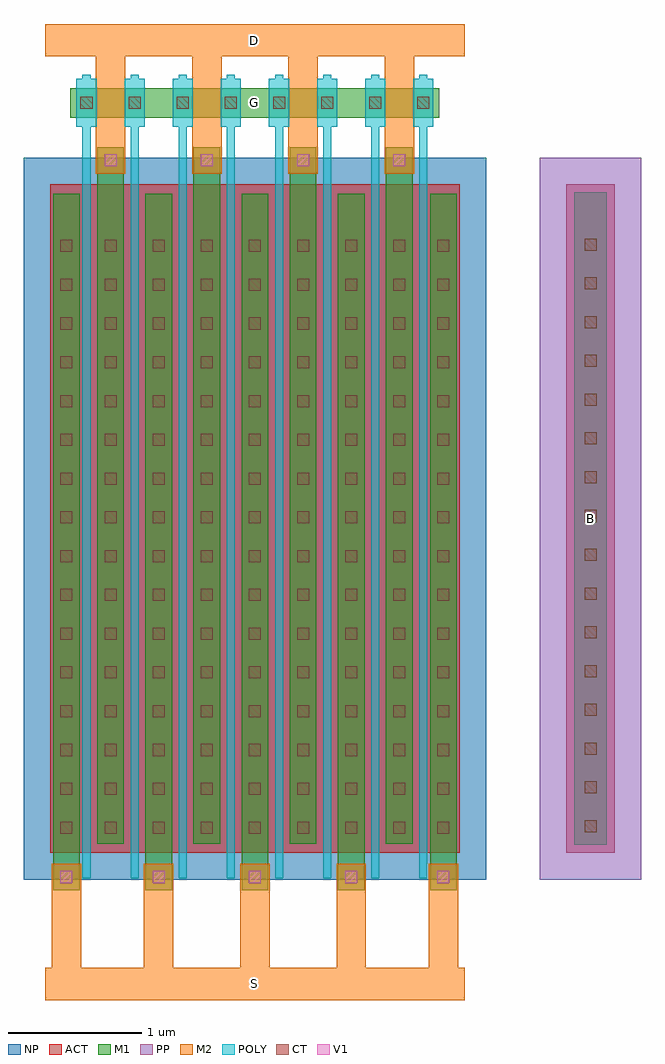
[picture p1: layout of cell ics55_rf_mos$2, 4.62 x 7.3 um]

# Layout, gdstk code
import gdstk
lib = gdstk.Library(unit=1e-6, precision=1e-09)
def R(c, l, rs):  # rectangles x0, y0, x1, y1
    for r in rs: c.add(gdstk.rectangle(r[:2], r[2:], *l))
def A(c, l, x, y, w, h, nx, ny, dx, dy):  # array of equal rectangles
    R(c, l, [(x+i*dx, y+j*dy, x+i*dx+w, y+j*dy+h) for i in range(nx) for j in range(ny)])
ACT = (2, 1)
POLY = (41, 1)
NP = (52, 1)
PP = (53, 1)
CT = (72, 1)
M1 = (81, 1)
M2 = (82, 1)
V1 = (91, 1)

ics55_rf_mos_2 = lib.new_cell('ics55_rf_mos$2')
R(ics55_rf_mos_2, ACT, [(-1.53,-2.5,1.53,2.5), (2.33,-2.5,2.69,2.5)])
A(ics55_rf_mos_2, POLY, -1.29, -2.69, 0.06, 6.01, 8, 1, 0.36, 0)
A(ics55_rf_mos_2, POLY, -1.335, 2.93, 0.15, 0.36, 8, 1, 0.36, 0)
R(ics55_rf_mos_2, NP, [(-1.73,-2.7,1.73,2.7)])
R(ics55_rf_mos_2, PP, [(2.13,-2.7,2.89,2.7)])
A(ics55_rf_mos_2, CT, -1.455, -2.355, 0.09, 0.09, 1, 16, 0, 0.29)
A(ics55_rf_mos_2, CT, -1.125, -2.355, 0.09, 0.09, 7, 16, 0.36, 0.29)
A(ics55_rf_mos_2, CT, 1.365, -2.355, 0.09, 0.09, 1, 16, 0, 0.29)
A(ics55_rf_mos_2, CT, 2.465, -2.345, 0.09, 0.09, 1, 16, 0, 0.29)
A(ics55_rf_mos_2, CT, -1.305, 3.065, 0.09, 0.09, 8, 1, 0.36, 0)
A(ics55_rf_mos_2, M1, -0.82, -2.78, 0.2, 5.21, 3, 1, 0.72, 0)
A(ics55_rf_mos_2, M1, -1.18, -2.43, 0.2, 5.21, 4, 1, 0.72, 0)
R(ics55_rf_mos_2, M1, [(-1.51,-2.78,-1.31,2.43), (1.31,-2.78,1.51,2.43), (2.39,-2.44,2.63,2.44), (-1.38,3,1.38,3.22)])
A(ics55_rf_mos_2, M2, -0.83, -3.6, 0.22, 1.02, 3, 1, 0.72, 0)
A(ics55_rf_mos_2, M2, -1.19, 2.58, 0.22, 1.12, 4, 1, 0.72, 0)
R(ics55_rf_mos_2, M2, [(-1.57,-3.6,1.57,-3.36), (-1.52,-3.6,-1.3,-2.58), (1.3,-3.6,1.52,-2.58), (-1.57,3.46,1.57,3.7)])
A(ics55_rf_mos_2, V1, -0.765, -2.725, 0.09, 0.09, 3, 1, 0.72, 0)
A(ics55_rf_mos_2, V1, -1.125, 2.635, 0.09, 0.09, 4, 1, 0.72, 0)
R(ics55_rf_mos_2, V1, [(-1.455,-2.725,-1.365,-2.635), (1.365,-2.725,1.455,-2.635)])
ics55_rf_mos_2.add(gdstk.Label('G', (0,3.11), layer=81, texttype=6))
ics55_rf_mos_2.add(gdstk.Label('B', (2.51,0), layer=81, texttype=6))
ics55_rf_mos_2.add(gdstk.Label('S', (0,-3.48), layer=82, texttype=6))
ics55_rf_mos_2.add(gdstk.Label('D', (0,3.58), layer=82, texttype=6))

lib.write_gds('ics55_rf_mos_2.gds')
